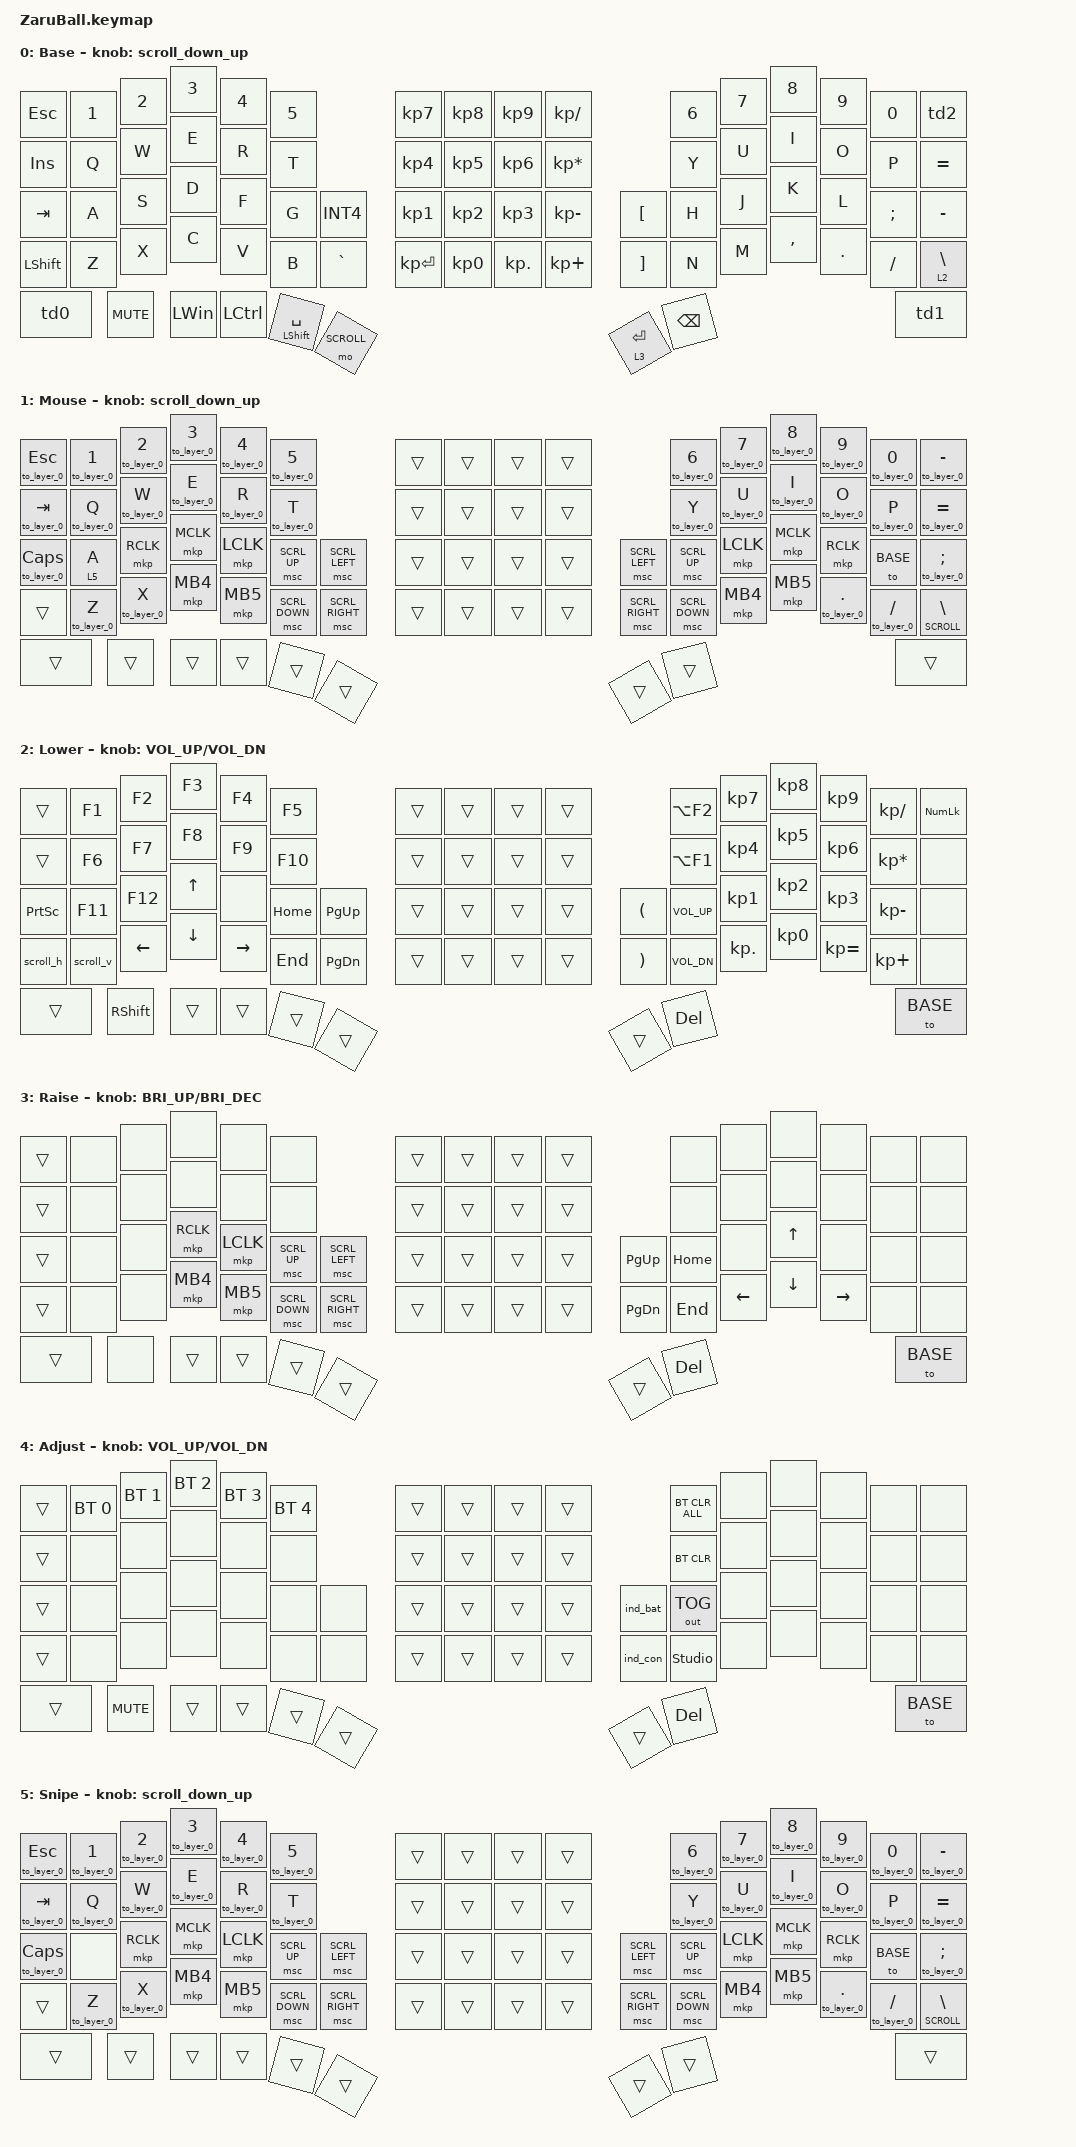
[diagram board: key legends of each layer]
#include <behaviors/rgbled_widget.dtsi>
#include <layout_shift_kp_override.dtsi>
#include <input/processors.dtsi>
#include <dt-bindings/zmk/input_transform.h>
#include <behaviors/scroll_axis_lock.dtsi>
#include <zephyr/dt-bindings/input/input-event-codes.h>
#include <behaviors.dtsi>
#include <dt-bindings/zmk/bt.h>
#include <dt-bindings/zmk/keys.h>
#include <dt-bindings/zmk/outputs.h>
#include <dt-bindings/zmk/pointing.h>

#define HM_TAPPING_TERM_FAST 200
#define HM_PRIOR_IDLE 70
#define BASE     0
#define MOUSE    1
#define LOWER    2
#define RAISE    3
#define ADJUST   4
#define SCROLL   2
#define SNIPE    5

// スクロール量の設定

#define ZMK_POINTING_DEFAULT_SCRL_VAL 100

/ {
    input_processors {
        aml_temp_layer: aml_temp_layer {
            compatible = "zmk,input-processor-aml-temp-layer";
            #input-processor-cells = <2>;
            require-prior-idle-ms = <200>;
            rearm-after-pointer-idle-ms = <100>;
            rearm-positions = <48>; // AML exit
            excluded-positions = <
                33 // A
                45 // J & Shift
                46 // K
                47 // L
                48 // AML exit
                50 // Left Shift
                71 // Ctrl
            >;
        };

        zip_scroll_axis_lock_mapper: zip_scroll_axis_lock_mapper {
            compatible = "zmk,input-processor-scroll-axis-lock-mapper";
            #input-processor-cells = <0>;
        };
    };
};

&trackball_listener {
    // Enter MOUSE on trackball movement long timeout so it won't auto-exit quickly

    input-processors = <
                         &zip_xy_transform (INPUT_TRANSFORM_XY_SWAP | INPUT_TRANSFORM_Y_INVERT | INPUT_TRANSFORM_X_INVERT)
                         &aml_temp_layer MOUSE 100000
    >;

    // Add &scroll_v or &scroll_h to your keymap to constrain trackball scrolling
    // while the SCROLL layer is active, without consuming extra layers.

    scroller {
        layers = <SCROLL>;
        input-processors = <
                            &zip_xy_transform (INPUT_TRANSFORM_XY_SWAP | INPUT_TRANSFORM_X_INVERT)
                            &zip_xy_scaler 1 20
                            &zip_scroll_axis_lock_mapper
        >;
    };

    snipe {
        layers = <SNIPE>;
        input-processors = <
                            &zip_xy_transform (INPUT_TRANSFORM_XY_SWAP | INPUT_TRANSFORM_Y_INVERT | INPUT_TRANSFORM_X_INVERT)
                            &zip_xy_scaler 1 8
        >;
    };
};

&mkp_input_listener {
    input-processors = <
                         &aml_temp_layer MOUSE 100000
    >;
};

/ {
    conditional_layers {
        compatible = "zmk,conditional-layers";

        tri_layer {
            if-layers = <2 3>;
            then-layer = <4>;
        };
    };
};

/ {
    behaviors {
        // スクロール用のbehaviorの設定

        scroll_down_up: behavior_sensor_rotate_mouse_wheel_down_up {
            compatible = "zmk,behavior-sensor-rotate";
            #sensor-binding-cells = <0>;
            bindings = <&msc SCRL_DOWN>, <&msc SCRL_UP>;

            tap-ms = <20>; // スクロールのタップ時間
        };

        td0: tap_dance_0 {
            compatible = "zmk,behavior-tap-dance";
            #binding-cells = <0>;
            tapping-term-ms = <200>;
            bindings = <&mt LALT LANG1>, <&mo RAISE>, <&mo MOUSE>;
        };

        td1: tap_dance_1 {
            compatible = "zmk,behavior-tap-dance";
            #binding-cells = <0>;
            tapping-term-ms = <200>;
            bindings = <&kp LANG2>, <&mo RAISE>, <&mo MOUSE>;
        };

        tog_off: toggle_layer_off {
            compatible = "zmk,behavior-toggle-layer";
            #binding-cells = <1>;
            toggle-mode = "off";
        };

        // Customed Hold-Tap for SandS

        SandS: SandS {
            compatible = "zmk,behavior-hold-tap";
            #binding-cells = <2>;
            flavor = "tap-unless-interrupted";
            tapping-term-ms = <500>;
            quick-tap-ms = <500>;
            bindings = <&kp>, <&kp>;

            display-name = "SandS";
        };

        // Keep the original key_press behavior for ZMK core components

        original_key_press: original_key_press {
            compatible = "zmk,behavior-key-press";
            #binding-cells = <1>;
            label = "KEY_PRESS";
        };

        // Override the existing &kp behavior to use our custom implementation

        kp: key_press {
            compatible = "zmk,behavior-layout-shift-key-press";
            #binding-cells = <1>;
            label = "LAYOUT_SHIFT_KEY_PRESS";
        };

        hm_shift_l: hm_shift_l {
            compatible = "zmk,behavior-hold-tap";
            #binding-cells = <2>;
            bindings = <&kp>, <&kp>;

            //flavor = "balanced";

            flavor = "balanced";
            tapping-term-ms = <HM_TAPPING_TERM_FAST>;
            quick-tap-ms = <200>;
            require-prior-idle-ms = <HM_PRIOR_IDLE>;
            hold-trigger-key-positions = <36>;
            hold-trigger-on-release;
        };

        hm_shift_r: hm_shift_r {
            compatible = "zmk,behavior-hold-tap";
            #binding-cells = <2>;
            bindings = <&kp>, <&kp>;

            flavor = "balanced";
            tapping-term-ms = <HM_TAPPING_TERM_FAST>;
            quick-tap-ms = <200>;
            require-prior-idle-ms = <HM_PRIOR_IDLE>;
            hold-trigger-key-positions = <45>;

            // for quick tapping; shift+~

            hold-trigger-on-release;
        };

        td2: td2 {
            compatible = "zmk,behavior-tap-dance";
            #binding-cells = <0>;
            tapping-term-ms = <200>;
            bindings = <&kp SQT>, <&tog_ls_on>;

            label = "TD2";
        };
    };
};

&sl {
}; // sticky layer (auto-release disabled for mkp_exit_AML)
/ {
    macros {
        // Send the key before leaving AML so temp-layer cooldown starts immediately.

        to_layer_0: to_layer_0 {
            compatible = "zmk,behavior-macro-one-param";
            #binding-cells = <1>;
            bindings = <&macro_param_1to1 &kp MACRO_PLACEHOLDER &to BASE>;
            label = "TO_layer_0";
        };

        // When LCLK pressed, exit AML (after 250ms caused by sticky layer)

        mkp_exit_AML: mkp_exit_AML {
            compatible = "zmk,behavior-macro-one-param";
            #binding-cells = <1>;
            bindings =
                <&macro_press>,
                <&macro_param_1to1 &mkp MACRO_PLACEHOLDER>,
                <&macro_pause_for_release>,
                <&macro_release>,
                <&macro_param_1to1 &mkp MACRO_PLACEHOLDER>,
                <&macro_tap>,
                <&sl MOUSE>;

            label = "MKP_EXIT_AML";
        };
    };
};

/ {
    keymap {
        compatible = "zmk,keymap";

        base_layer {
            display-name = "Base";
            sensor-bindings = <&scroll_down_up>;
            bindings = <
&kp ESC    &kp N1      &kp N2  &kp N3    &kp N4     &kp N5                            &kp KP_N7     &kp KP_N8  &kp KP_N9   &kp KP_DIVIDE                 &kp NUMBER_6  &kp N7  &kp N8     &kp N9   &kp N0    &td2
&kp INS    &kp Q       &kp W   &kp E     &kp R      &kp T                             &kp KP_N4     &kp KP_N5  &kp KP_N6   &kp KP_MULTIPLY               &kp Y         &kp U   &kp I      &kp O    &kp P     &kp EQUAL
&kp TAB    &kp A       &kp S   &kp D     &kp F      &kp G               &kp INT4      &kp KP_N1     &kp KP_N2  &kp KP_N3   &kp KP_MINUS       &kp LBKT   &kp H         &kp J   &kp K      &kp L    &kp SEMI  &kp MINUS
&kp LSHFT  &kp Z       &kp X   &kp C     &kp V      &kp B               &kp GRAVE     &kp KP_ENTER  &kp KP_N0  &kp KP_DOT  &kp KP_PLUS        &kp RBKT   &kp N         &kp M   &kp COMMA  &kp DOT  &kp FSLH  &lt 2 BACKSLASH
&td0       &kp C_MUTE          &kp LWIN  &kp LCTRL  &SandS LSHFT SPACE  &mo SCROLL                                                            &lt 3 RET  &kp BSPC                                            &td1
            >;
        };

        mouse_layer {
            display-name = "Mouse";
            sensor-bindings = <&scroll_down_up>;
            bindings = <
&to_layer_0 ESC   &to_layer_0 N1  &to_layer_0 N2  &to_layer_0 N3  &to_layer_0 N4  &to_layer_0 N5                     &trans  &trans  &trans  &trans                     &to_layer_0 N6  &to_layer_0 N7  &to_layer_0 N8  &to_layer_0 N9      &to_layer_0 N0     &to_layer_0 MINUS
&to_layer_0 TAB   &to_layer_0 Q   &to_layer_0 W   &to_layer_0 E   &to_layer_0 R   &to_layer_0 T                      &trans  &trans  &trans  &trans                     &to_layer_0 Y   &to_layer_0 U   &to_layer_0 I   &to_layer_0 O       &to_layer_0 P      &to_layer_0 EQUAL
&to_layer_0 CAPS  &lt 5 A         &mkp RCLK       &mkp MCLK       &mkp LCLK       &msc SCRL_UP    &msc SCRL_LEFT     &trans  &trans  &trans  &trans    &msc SCRL_LEFT   &msc SCRL_UP    &mkp LCLK       &mkp MCLK       &mkp RCLK           &to BASE           &to_layer_0 SEMICOLON
&trans            &to_layer_0 Z   &to_layer_0 X   &mkp MB4        &mkp MB5        &msc SCRL_DOWN  &msc SCRL_RIGHT    &trans  &trans  &trans  &trans    &msc SCRL_RIGHT  &msc SCRL_DOWN  &mkp MB4        &mkp MB5        &to_layer_0 PERIOD  &to_layer_0 SLASH  &lt SCROLL BACKSLASH
&trans            &trans                          &trans          &trans          &trans          &trans                                               &trans           &trans                                                                                 &trans
            >;
        };

        lower_layer {
            display-name = "Lower";
            sensor-bindings = <&inc_dec_kp C_VOL_UP C_VOL_DN>;
            bindings = <
&trans     &kp F1     &kp F2    &kp F3    &kp F4     &kp F5                 &trans  &trans  &trans  &trans              &kp LA(F2)    &kp KP_N7   &kp KP_N8  &kp KP_N9     &kp KP_SLASH     &kp KP_NUMLOCK
&trans     &kp F6     &kp F7    &kp F8    &kp F9     &kp F10                &trans  &trans  &trans  &trans              &kp LA(F1)    &kp KP_N4   &kp KP_N5  &kp KP_N6     &kp KP_MULTIPLY  &none
&kp PSCRN  &kp F11    &kp F12   &kp UP    &none      &kp HOME  &kp PG_UP    &trans  &trans  &trans  &trans    &kp LPAR  &kp C_VOL_UP  &kp KP_N1   &kp KP_N2  &kp KP_N3     &kp KP_MINUS     &none
&scroll_h  &scroll_v  &kp LEFT  &kp DOWN  &kp RIGHT  &kp END   &kp PG_DN    &trans  &trans  &trans  &trans    &kp RPAR  &kp C_VOL_DN  &kp KP_DOT  &kp KP_N0  &kp KP_EQUAL  &kp KP_PLUS      &none
&trans     &kp RSHFT            &trans    &trans     &trans    &trans                                         &trans    &kp DEL                                                             &to BASE
            >;
        };

        raise_layer {
            display-name = "Raise";
            sensor-bindings = <&inc_dec_kp C_BRI_UP C_BRI_DEC>;
            bindings = <
&trans  &none  &none  &none      &none      &none                              &trans  &trans  &trans  &trans               &none     &none     &none     &none      &none  &none
&trans  &none  &none  &none      &none      &none                              &trans  &trans  &trans  &trans               &none     &none     &none     &none      &none  &none
&trans  &none  &none  &mkp RCLK  &mkp LCLK  &msc SCRL_UP    &msc SCRL_LEFT     &trans  &trans  &trans  &trans    &kp PG_UP  &kp HOME  &none     &kp UP    &none      &none  &none
&trans  &none  &none  &mkp MB4   &mkp MB5   &msc SCRL_DOWN  &msc SCRL_RIGHT    &trans  &trans  &trans  &trans    &kp PG_DN  &kp END   &kp LEFT  &kp DOWN  &kp RIGHT  &none  &none
&trans  &none         &trans     &trans     &trans          &trans                                               &trans     &kp DEL                                         &to BASE
            >;
        };

        adjust_layer {
            display-name = "Adjust";
            sensor-bindings = <&inc_dec_kp C_VOL_UP C_VOL_DN>;
            bindings = <
&trans  &bt BT_SEL 0  &bt BT_SEL 1  &bt BT_SEL 2  &bt BT_SEL 3  &bt BT_SEL 4            &trans  &trans  &trans  &trans              &bt BT_CLR_ALL  &none  &none  &none  &none  &none
&trans  &none         &none         &none         &none         &none                   &trans  &trans  &trans  &trans              &bt BT_CLR      &none  &none  &none  &none  &none
&trans  &none         &none         &none         &none         &none         &none     &trans  &trans  &trans  &trans    &ind_bat  &out OUT_TOG    &none  &none  &none  &none  &none
&trans  &none         &none         &none         &none         &none         &none     &trans  &trans  &trans  &trans    &ind_con  &studio_unlock  &none  &none  &none  &none  &none
&trans  &kp C_MUTE                  &trans        &trans        &trans        &trans                                      &trans    &kp DEL                                     &to BASE
            >;
        };

        snipe_layer {
            display-name = "Snipe";
            sensor-bindings = <&scroll_down_up>;
            bindings = <
&to_layer_0 ESC   &to_layer_0 N1  &to_layer_0 N2  &to_layer_0 N3  &to_layer_0 N4  &to_layer_0 N5                     &trans  &trans  &trans  &trans                     &to_layer_0 N6  &to_layer_0 N7  &to_layer_0 N8  &to_layer_0 N9      &to_layer_0 N0     &to_layer_0 MINUS
&to_layer_0 TAB   &to_layer_0 Q   &to_layer_0 W   &to_layer_0 E   &to_layer_0 R   &to_layer_0 T                      &trans  &trans  &trans  &trans                     &to_layer_0 Y   &to_layer_0 U   &to_layer_0 I   &to_layer_0 O       &to_layer_0 P      &to_layer_0 EQUAL
&to_layer_0 CAPS  &none           &mkp RCLK       &mkp MCLK       &mkp LCLK       &msc SCRL_UP    &msc SCRL_LEFT     &trans  &trans  &trans  &trans    &msc SCRL_LEFT   &msc SCRL_UP    &mkp LCLK       &mkp MCLK       &mkp RCLK           &to BASE           &to_layer_0 SEMICOLON
&trans            &to_layer_0 Z   &to_layer_0 X   &mkp MB4        &mkp MB5        &msc SCRL_DOWN  &msc SCRL_RIGHT    &trans  &trans  &trans  &trans    &msc SCRL_RIGHT  &msc SCRL_DOWN  &mkp MB4        &mkp MB5        &to_layer_0 PERIOD  &to_layer_0 SLASH  &lt SCROLL BACKSLASH
&trans            &trans                          &trans          &trans          &trans          &trans                                               &trans           &trans                                                                                 &trans
            >;
        };

        // Extra layer can be added in ZMK STUDIO

        extra1 { status = "reserved"; };

        extra2 { status = "reserved"; };
    };
};
